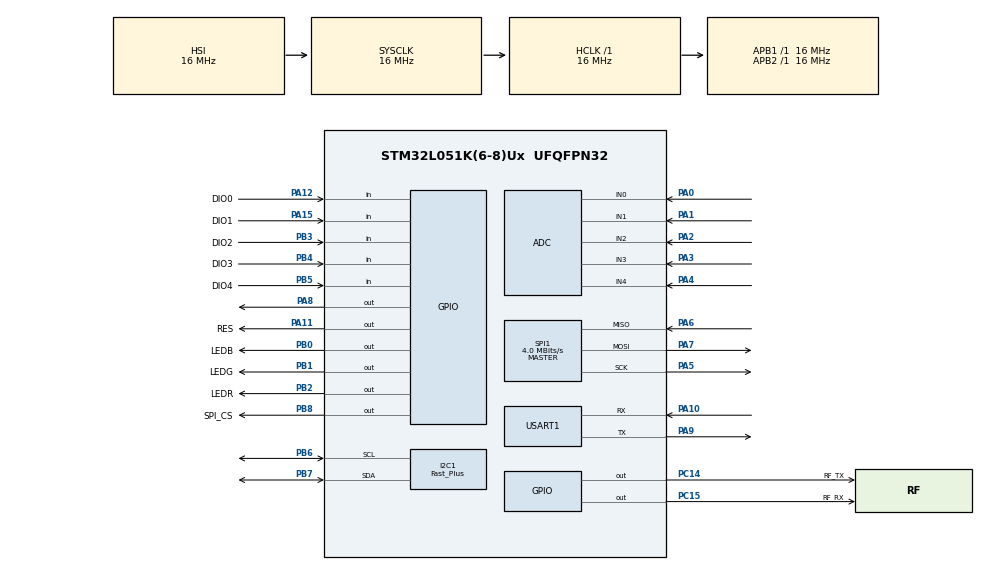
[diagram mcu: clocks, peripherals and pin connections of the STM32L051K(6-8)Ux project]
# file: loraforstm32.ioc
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Dma.Request0=SPI1_TX
Dma.Request1=SPI1_RX
Dma.SPI1_RX.1.Direction=DMA_PERIPH_TO_MEMORY
Dma.SPI1_RX.1.Instance=DMA1_Channel2
Dma.SPI1_RX.1.MemDataAlignment=DMA_MDATAALIGN_BYTE
Dma.SPI1_RX.1.MemInc=DMA_MINC_ENABLE
Dma.SPI1_RX.1.Mode=DMA_NORMAL
Dma.SPI1_RX.1.PeriphDataAlignment=DMA_PDATAALIGN_BYTE
Dma.SPI1_RX.1.PeriphInc=DMA_PINC_DISABLE
Dma.SPI1_RX.1.Priority=DMA_PRIORITY_LOW
Dma.SPI1_TX.0.Direction=DMA_MEMORY_TO_PERIPH
Dma.SPI1_TX.0.Instance=DMA1_Channel3
Dma.SPI1_TX.0.MemDataAlignment=DMA_MDATAALIGN_BYTE
Dma.SPI1_TX.0.MemInc=DMA_MINC_ENABLE
Dma.SPI1_TX.0.Mode=DMA_NORMAL
Dma.SPI1_TX.0.PeriphDataAlignment=DMA_PDATAALIGN_BYTE
Dma.SPI1_TX.0.PeriphInc=DMA_PINC_DISABLE
Dma.SPI1_TX.0.Priority=DMA_PRIORITY_LOW
I2C1.I2C_Speed_Mode=I2C_Fast_Plus
I2C1.Timing=0x00000107
Mcu.Family=STM32L0
Mcu.Name=STM32L051K(6-8)Ux
Mcu.Package=UFQFPN32
NVIC.DMA1_Channel2_3_IRQn=true\:0\:0\:false\:false\:true
PA0.Mode=IN0
PA0.Signal=ADC_IN0
PA1.Mode=IN1
PA1.Signal=ADC_IN1
PA10.Mode=Asynchronous
PA10.Signal=USART1_RX
PA11.GPIO_Label=RES
PA11.PinState=GPIO_PIN_SET
PA11.Signal=GPIO_Output
PA12.GPIO_Label=DIO0
PA12.Signal=GPIO_Input
PA13.Mode=Serial_Wire
PA13.Signal=SYS_SWDIO
PA14.Mode=Serial_Wire
PA14.Signal=SYS_SWCLK
PA15.GPIO_Label=DIO1
PA15.Signal=GPIO_Input
PA2.Mode=IN2
PA2.Signal=ADC_IN2
PA3.Mode=IN3
PA3.Signal=ADC_IN3
PA4.Mode=IN4
PA4.Signal=ADC_IN4
PA5.Mode=Full_Duplex_Master
PA5.Signal=SPI1_SCK
PA6.Mode=Full_Duplex_Master
PA6.Signal=SPI1_MISO
PA7.Mode=Full_Duplex_Master
PA7.Signal=SPI1_MOSI
PA8.Signal=GPIO_Output
PA9.Mode=Asynchronous
PA9.Signal=USART1_TX
PB0.GPIO_Label=LEDB
PB0.GPIO_PuPd=GPIO_NOPULL
PB0.PinState=GPIO_PIN_SET
PB0.Signal=GPIO_Output
PB1.GPIO_Label=LEDG
PB1.GPIO_PuPd=GPIO_NOPULL
PB1.PinState=GPIO_PIN_SET
PB1.Signal=GPIO_Output
PB2.GPIO_Label=LEDR
PB2.GPIO_PuPd=GPIO_NOPULL
PB2.PinState=GPIO_PIN_SET
PB2.Signal=GPIO_Output
PB3.GPIO_Label=DIO2
PB3.Signal=GPIO_Input
PB4.GPIO_Label=DIO3
PB4.Signal=GPIO_Input
PB5.GPIO_Label=DIO4
PB5.Signal=GPIO_Input
PB6.Mode=I2C
PB6.Signal=I2C1_SCL
PB7.Mode=I2C
PB7.Signal=I2C1_SDA
PB8.GPIO_FM8=__NULL
PB8.GPIO_Label=SPI_CS
PB8.GPIO_Speed=GPIO_SPEED_FREQ_HIGH
PB8.PinState=GPIO_PIN_RESET
PB8.Signal=GPIO_Output
PC14-OSC32_IN.GPIO_Label=RF_TX
PC14-OSC32_IN.Signal=GPIO_Output
PC15-OSC32_OUT.GPIO_Label=RF_RX
PC15-OSC32_OUT.Signal=GPIO_Output
ProjectManager.HeapSize=0x200
ProjectManager.StackSize=0x400
ProjectManager.TargetToolchain=MDK-ARM V5
RCC.AHBFreq_Value=16000000
RCC.APB1Freq_Value=16000000
RCC.APB1TimFreq_Value=16000000
RCC.APB2Freq_Value=16000000
RCC.APB2TimFreq_Value=16000000
RCC.HCLKFreq_Value=16000000
RCC.HSI16_VALUE=16000000
RCC.HSI_VALUE=16000000
RCC.LSE_VALUE=32768
RCC.MSI_VALUE=2097000
RCC.PLLSourceVirtual=RCC_PLLSOURCE_HSI
RCC.SYSCLKFreq_VALUE=16000000
RCC.SYSCLKSource=RCC_SYSCLKSOURCE_HSI
RCC.VCOOutputFreq_Value=48000000
SPI1.BaudRatePrescaler=SPI_BAUDRATEPRESCALER_4
SPI1.CalculateBaudRate=4.0 MBits/s
SPI1.Direction=SPI_DIRECTION_2LINES
SPI1.Mode=SPI_MODE_MASTER
SPI1.VirtualType=VM_MASTER
USART1.VirtualMode-Asynchronous=VM_ASYNC
board=loraforstm32

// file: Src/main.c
/**
  ******************************************************************************
  * File Name          : main.c
  * Description        : Main program body
  ******************************************************************************
  *
  * COPYRIGHT(c) 2017 STMicroelectronics
  *
  * Redistribution and use in source and binary forms, with or without modification,
  * are permitted provided that the following conditions are met:
  *   1. Redistributions of source code must retain the above copyright notice,
  *      this list of conditions and the following disclaimer.
  *   2. Redistributions in binary form must reproduce the above copyright notice,
  *      this list of conditions and the following disclaimer in the documentation
  *      and/or other materials provided with the distribution.
  *   3. Neither the name of STMicroelectronics nor the names of its contributors
  *      may be used to endorse or promote products derived from this software
  *      without specific prior written permission.
  *
  * THIS SOFTWARE IS PROVIDED BY THE COPYRIGHT HOLDERS AND CONTRIBUTORS "AS IS"
  * AND ANY EXPRESS OR IMPLIED WARRANTIES, INCLUDING, BUT NOT LIMITED TO, THE
  * IMPLIED WARRANTIES OF MERCHANTABILITY AND FITNESS FOR A PARTICULAR PURPOSE ARE
  * DISCLAIMED. IN NO EVENT SHALL THE COPYRIGHT HOLDER OR CONTRIBUTORS BE LIABLE
  * FOR ANY DIRECT, INDIRECT, INCIDENTAL, SPECIAL, EXEMPLARY, OR CONSEQUENTIAL
  * DAMAGES (INCLUDING, BUT NOT LIMITED TO, PROCUREMENT OF SUBSTITUTE GOODS OR
  * SERVICES; LOSS OF USE, DATA, OR PROFITS; OR BUSINESS INTERRUPTION) HOWEVER
  * CAUSED AND ON ANY THEORY OF LIABILITY, WHETHER IN CONTRACT, STRICT LIABILITY,
  * OR TORT (INCLUDING NEGLIGENCE OR OTHERWISE) ARISING IN ANY WAY OUT OF THE USE
  * OF THIS SOFTWARE, EVEN IF ADVISED OF THE POSSIBILITY OF SUCH DAMAGE.
  *
  ******************************************************************************
  */
#include "main.h"
#include "stm32l0xx_hal.h"
#include "adc.h"
#include "dma.h"
#include "i2c.h"
#include "spi.h"
#include "usart.h"
#include "gpio.h"

/* USER CODE BEGIN Includes */
////////////BSP/////////////
#include "oled.h"
#include "bsp.h"
#include "string.h"
//////////RF////////////////
#include "radio.h"
#include "platform.h"
#include "sx1276.h"
#include "sx1276-Fsk.h"
#include "sx1276-Hal.h"
#include "sx1276-LoRa.h"
////////////////////////////
/* USER CODE END Includes */

/* USER CODE BEGIN PV */
/* Private variables ---------------------------------------------------------*/
#define oled
/* USER CODE END PV */

void SystemClock_Config(void);
void Error_Handler(void);

/* USER CODE BEGIN PFP */
/* Private function prototypes -----------------------------------------------*/
static uint16_t TRSIZE  =   13;//BUFFER_SIZE-3
#define BUFFER_SIZE                                 16 // Define the payload size here
static uint16_t BufferSize = BUFFER_SIZE;			// RF buffer size
static uint8_t Sendbuffer[BUFFER_SIZE]={ 0, 1, 2, 3, 4, 5 ,6,7,8,9,10,11,12,0,0,0};					// RF buffer
static uint8_t Ascbuffer[BUFFER_SIZE]={ 0, 1, 2, 3, 4, 5 ,6,7,8,9,10,11,12,0,0,0};

//static uint8_t EnableMaster = true; 				// Master/Slave selection

tRadioDriver *Radio = NULL;

/* USER CODE END PFP */

/* USER CODE BEGIN 0 */
void OnMaster( void );
void OnSlave( void );
/* USER CODE END 0 */

int main(void)
{

  /* USER CODE BEGIN 1 */
  uint8_t test=0,RISS=0 ;
  /* USER CODE END 1 */

  /* MCU Configuration----------------------------------------------------------*/

  /* Reset of all peripherals, Initializes the Flash interface and the Systick. */
  HAL_Init();

  /* Configure the system clock */
  SystemClock_Config();

  /* Initialize all configured peripherals */
  MX_GPIO_Init();
  MX_DMA_Init();
  MX_ADC_Init();
  MX_USART1_UART_Init();
  MX_SPI1_Init();

  /* USER CODE BEGIN 2 */

#ifdef oled
  MX_I2C1_Init();
		OLED_Init();			//初始化OLED
		OLED_ShowString(0,0,"oledok",16);
		HAL_Delay(1000);
		OLED_Clear();
#endif

		SX1276Read(0x42,&test);//??0x12
 if(test!=0x12)
 {
#ifdef oled
	 	   OLED_ShowString(0,0,"ERROR1",16);
#endif
	 ledR=0;
		 while(1)
		 {
		 }
 }

 SX1276Read(0x44,&test);//??0x2D
  if(test!=0x2D)
 {
#ifdef oled
	 OLED_ShowString(0,0,"ERROR2",16);
#endif
	 ledR=0;
		 while(1)
		 {
		 }
 }
	Radio = RadioDriverInit( );
    Radio->Init( );
    Radio->StartRx( );
#ifdef oled
		OLED_ShowString(0,0,"sx1278ok",16);
  OLED_Clear();
								OLED_ShowString(0,0,"mtx:",16);
								OLED_ShowNum(35,0,Sendbuffer[(TRSIZE+1)],3,16);
								OLED_ShowString(65,0,"asc:",16);
								OLED_ShowNum(100,0,Sendbuffer[TRSIZE],3,16);
								OLED_ShowString(0,2,"riss:",16);
 								OLED_ShowString(45,2,"s",16);
 								OLED_ShowString(90,2,"m",16);

#endif
	ledB=0;

  /* USER CODE END 2 */

  /* Infinite loop */
  while (1)
  {

  /* USER CODE BEGIN 3 */
		#ifdef oled
			OnSlave();
//		HAL_Delay(50);

		OLED_ShowNum(60,2,RISS,3,16);
		#else

		OnMaster();
		HAL_Delay(500);
		Sendbuffer[(TRSIZE+2)]=RISS;
		#endif

  RISS=(uint8_t)SX1276LoRaGetPacketRssi();

	}
  /* USER CODE END 3 */

}

/** System Clock Configuration
*/
void SystemClock_Config(void)
{

  RCC_OscInitTypeDef RCC_OscInitStruct;
  RCC_ClkInitTypeDef RCC_ClkInitStruct;
  RCC_PeriphCLKInitTypeDef PeriphClkInit;

    /**Configure the main internal regulator output voltage
    */
  __HAL_PWR_VOLTAGESCALING_CONFIG(PWR_REGULATOR_VOLTAGE_SCALE1);

    /**Initializes the CPU, AHB and APB busses clocks
    */
  RCC_OscInitStruct.OscillatorType = RCC_OSCILLATORTYPE_HSI;
  RCC_OscInitStruct.HSIState = RCC_HSI_ON;
  RCC_OscInitStruct.HSICalibrationValue = 16;
  RCC_OscInitStruct.PLL.PLLState = RCC_PLL_NONE;
  if (HAL_RCC_OscConfig(&RCC_OscInitStruct) != HAL_OK)
  {
    Error_Handler();
  }

    /**Initializes the CPU, AHB and APB busses clocks
    */
  RCC_ClkInitStruct.ClockType = RCC_CLOCKTYPE_HCLK|RCC_CLOCKTYPE_SYSCLK
                              |RCC_CLOCKTYPE_PCLK1|RCC_CLOCKTYPE_PCLK2;
  RCC_ClkInitStruct.SYSCLKSource = RCC_SYSCLKSOURCE_HSI;
  RCC_ClkInitStruct.AHBCLKDivider = RCC_SYSCLK_DIV1;
  RCC_ClkInitStruct.APB1CLKDivider = RCC_HCLK_DIV1;
  RCC_ClkInitStruct.APB2CLKDivider = RCC_HCLK_DIV1;

  if (HAL_RCC_ClockConfig(&RCC_ClkInitStruct, FLASH_LATENCY_0) != HAL_OK)
  {
    Error_Handler();
  }

  PeriphClkInit.PeriphClockSelection = RCC_PERIPHCLK_USART1|RCC_PERIPHCLK_I2C1;
  PeriphClkInit.Usart1ClockSelection = RCC_USART1CLKSOURCE_PCLK2;
  PeriphClkInit.I2c1ClockSelection = RCC_I2C1CLKSOURCE_PCLK1;
  if (HAL_RCCEx_PeriphCLKConfig(&PeriphClkInit) != HAL_OK)
  {
    Error_Handler();
  }

    /**Configure the Systick interrupt time
    */
  HAL_SYSTICK_Config(HAL_RCC_GetHCLKFreq()/1000);

    /**Configure the Systick
    */
  HAL_SYSTICK_CLKSourceConfig(SYSTICK_CLKSOURCE_HCLK);

  /* SysTick_IRQn interrupt configuration */
  HAL_NVIC_SetPriority(SysTick_IRQn, 0, 0);
}

/* USER CODE BEGIN 4 */
 uint8_t RFWrite(uint8_t* buff, uint8_t size);
uint8_t RFRead(uint8_t* buff );
void OnMaster( void )
{
	uint8_t  buff[BUFFER_SIZE]={0};
	uint8_t i,error = 0;
	RFWrite(Sendbuffer,BufferSize);

	if( RFRead(buff) > 0 )
	{
		for (i=0, error=0; i<TRSIZE; i++ )
            {
                if (buff[i] != Ascbuffer[i])     { error=2; break; }
								else error=1;
            }
						if (error==1)
							{
//								OLED_ShowNum(105,0,buff[TRSIZE],3,16);
								 ledB=!ledB;
							Sendbuffer[TRSIZE]++;

							}

	}
//	OLED_ShowNum(35,0,Sendbuffer[TRSIZE],3,16);
	ledR=!ledR;
 		Sendbuffer[(TRSIZE+1)]++;
}

void OnSlave( void )
{
	    uint8_t error = 0;
    uint8_t i;
uint8_t  buff[BUFFER_SIZE]={0};
        if( RFRead(buff) > 0 )
        {
            for (i=0, error=0; i<TRSIZE; i++ )
            {
                if (Sendbuffer[i] != buff[i])     { error=2; break; }
								else error=1;
            }
							if (error==1)
							{
                // Indicates on a LED that the received frame is a PING

								 RFWrite( Ascbuffer, BufferSize );
							#ifdef oled

								OLED_ShowNum(35,0,buff[(TRSIZE+1)],3,16);

								OLED_ShowNum(100,0,buff[TRSIZE],3,16);
								OLED_ShowNum(105,2,buff[(TRSIZE+2)],3,16);
							#endif

                ledB=!ledB;
            }
        }
}

 uint8_t RFWrite(uint8_t* buff, uint8_t size)
{
  //  Radio->LoRaSetRFFrequency( freq );// 478750000   DownChannel[10]
    Radio->SetTxPacket( buff, size);
    while( Radio->Process( ) != RF_TX_DONE );
     	Radio->StartRx( );
    return size;
}
uint8_t RFRead(uint8_t* buff )
{
  uint32_t result;
 	uint16_t RxLen;

// Radio->LoRaSetRFFrequency( freq );

	 while( 1 )
	 {
		result = Radio->Process( );///SX1276LoRaProcess
		 if( (result == RF_RX_DONE) || (result == RF_RX_TIMEOUT) )
		 {
			 break;
		 }
	 }

		 if( result == RF_RX_DONE )//RFBuffer
		 {
			 Radio->GetRxPacket( buff, &RxLen );

			 return RxLen;
		 }
		else
		 {
			return 0;
		 }

}

//static void RFInit()
//{
//    Radio->LoRaSetOpMode( RFLR_OPMODE_STANDBY );
//    // set the RF settings
//    Radio->LoRaSetPa20dBm( false );
//    Radio->LoRaSetRFPower( 5 );
//    Radio->LoRaSetSpreadingFactor( 7 ); // SF6 only operates in implicit header mode.
//    Radio->LoRaSetErrorCoding( 1 );
//    Radio->LoRaSetPacketCrcOn( 0 );
//    Radio->LoRaSetSignalBandwidth( 7 );
//    Radio->LoRaSetImplicitHeaderOn( 0 );
//    Radio->LoRaSetSymbTimeout( 0x3FF );
//    Radio->LoRaSetPayloadLength( 128 );
//    Radio->LoRaSetLowDatarateOptimize( true );
//    Radio->LoRaSetFreqHopOn(false);
//    Radio->LoRaSetRxSingleOn(true);
//    Radio->LoRaSetPreambleLength( 6 );
//    Radio->LoRaSetOpMode( RFLR_OPMODE_STANDBY );
//}
/* USER CODE END 4 */

void Error_Handler(void)
{
  while(1)
  {
  }
}

/************************ (C) COPYRIGHT STMicroelectronics *****END OF FILE****/
